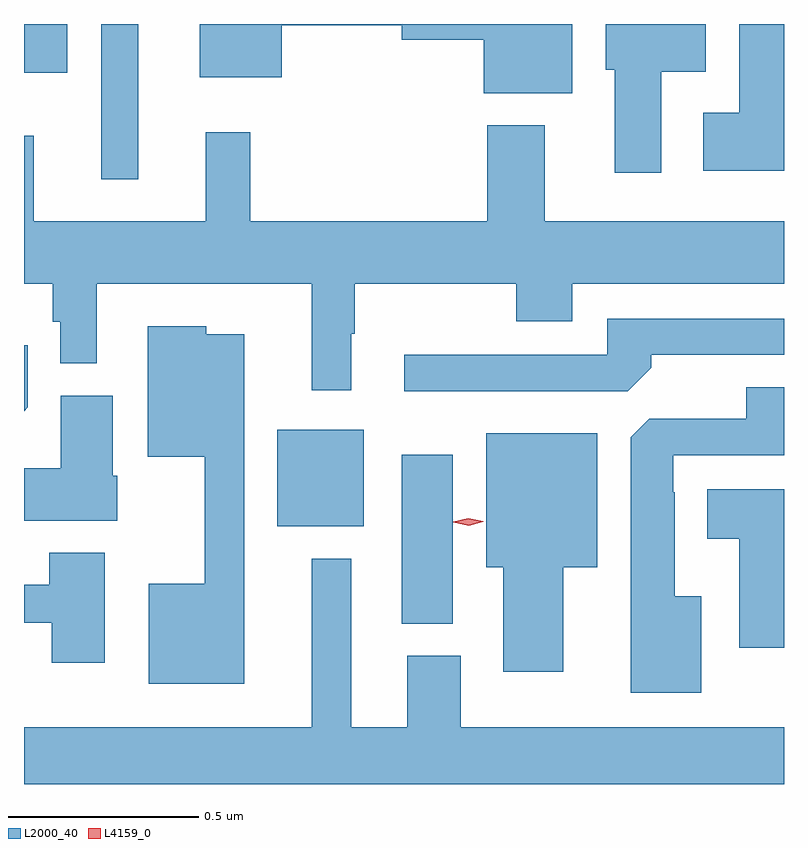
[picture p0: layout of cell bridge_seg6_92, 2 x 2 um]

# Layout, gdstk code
import gdstk
lib = gdstk.Library(unit=1e-6, precision=1e-09)
def R(c, l, rs):  # rectangles x0, y0, x1, y1
    for r in rs: c.add(gdstk.rectangle(r[:2], r[2:], *l))
def P(c, l, *ps):  # polygons
    for p in ps: c.add(gdstk.Polygon(p, *l))
L2000_40 = (2000, 40)
L4159_0 = (4159, 0)

bridge_seg6_92 = lib.new_cell('bridge_seg6_92')
R(bridge_seg6_92, L2000_40, [(816.044,989.065,816.178,989.509), (815.717,989.321,815.944,989.575), (815.253,990.234,815.35,990.643), (815.05,990.515,815.164,990.643)])
P(bridge_seg6_92, L2000_40, [(817.05,990.643),(816.932,990.643),(816.932,990.409),(816.837,990.409),(816.837,990.257),(817.05,990.257)],
  [(816.727,990.518),(816.844,990.518),(816.844,990.643),(816.581,990.643),(816.581,990.522),(816.605,990.522),(816.605,990.252),(816.727,990.252)],
  [(816.493,990.643),(815.513,990.643),(815.513,990.503),(815.728,990.503),(815.728,990.64),(816.044,990.64),(816.044,990.601),(816.26,990.601),(816.26,990.461),(816.493,990.461)],
  [(815.645,990.358),(815.528,990.358),(815.528,990.124),(815.075,990.124),(815.075,990.349),(815.05,990.349),(815.05,989.96),(815.125,989.96),(815.125,989.859),(815.145,989.859),(815.145,989.75),(815.242,989.75),(815.242,989.96),(815.807,989.96),(815.807,989.679),(815.911,989.679),(815.911,989.828),(815.921,989.828),(815.921,989.96),(816.346,989.96),(816.346,989.861),(816.493,989.861),(816.493,989.96),(817.05,989.96),(817.05,990.124),(816.421,990.124),(816.421,990.376),(816.269,990.376),(816.269,990.124),(815.645,990.124)],
  [(816.701,989.738),(816.701,989.772),(817.05,989.772),(817.05,989.868),(816.585,989.868),(816.585,989.772),(816.051,989.772),(816.051,989.676),(816.639,989.676)],
  [(815.629,989.827),(815.529,989.827),(815.529,989.848),(815.375,989.848),(815.375,989.504),(815.525,989.504),(815.525,989.17),(815.378,989.17),(815.378,988.907),(815.629,988.907)],
  [(815.06,989.634),(815.06,989.797),(815.05,989.797),(815.05,989.624)],
  [(816.832,989.137),(816.763,989.137),(816.763,989.411),(816.759,989.411),(816.759,989.508),(817.05,989.508),(817.05,989.687),(816.95,989.687),(816.95,989.604),(816.696,989.604),(816.647,989.555),(816.647,988.883),(816.832,988.883)],
  [(815.296,989.454),(815.284,989.454),(815.284,989.665),(815.147,989.665),(815.147,989.474),(815.05,989.474),(815.05,989.336),(815.296,989.336)],
  [(816.469,989.213),(816.559,989.213),(816.559,989.566),(816.266,989.566),(816.266,989.213),(816.311,989.213),(816.311,988.938),(816.469,988.938)],
  [(817.05,989.419),(816.848,989.419),(816.848,989.288),(816.932,989.288),(816.932,989.001),(817.05,989.001)],
  [(815.263,989.251),(815.116,989.251),(815.116,989.167),(815.05,989.167),(815.05,989.067),(815.123,989.067),(815.123,988.962),(815.263,988.962)],
  [(817.05,988.792),(816.199,988.792),(816.199,988.98),(816.059,988.98),(816.059,988.792),(815.911,988.792),(815.911,989.236),(815.807,989.236),(815.807,988.792),(815.05,988.792),(815.05,988.643),(817.05,988.643)])
P(bridge_seg6_92, L4159_0, [(816.22,989.323),(816.18,989.332),(816.18,989.332),(816.18,989.333),(816.219,989.343),(816.259,989.334),(816.259,989.333),(816.259,989.333)])

lib.write_gds('bridge_seg6_92.gds')
